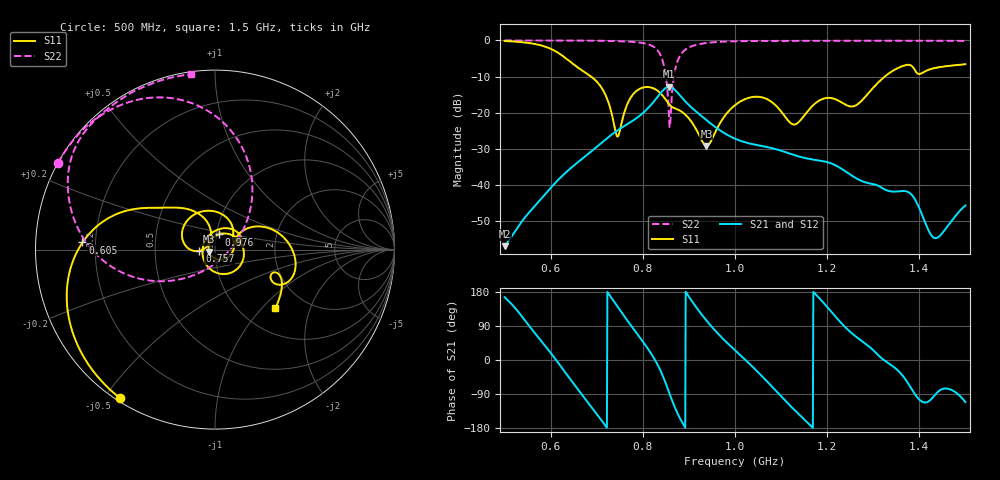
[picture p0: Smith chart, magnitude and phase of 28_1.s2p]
! TOUCHSTONE file generated by CST MICROWAVE STUDIO
! Date and time: Fri Oct  2 18:37:01 2020
! Project name: Scenario_1_Free_Space_out_of_line.cst
! Parameters = {Lambda=346.42; Step_1=17.321; dy1=-120.567; dx1=173; L_HA=400; MT=2.54; Rad_Dielectric=30; Rad_Lower=7.3; Rad_Upper=30; a_HA=580; a_WG=246; b_HA=500; b_WG=121; c_HA=0; c_WG=187; d_feed=85; h_feed=15; h_lower=18; h_upper=40}
! Header version: 2018
! Port assignment regex: !\s*Touchstone port\s*([0-9]+)\s*=\s*(CST MWS port|CST DS port)\s*([0-9]+|Zmin|Zmax)\s*\(\"(.*)\"\)(\s*mode\s*([0-9]+))?.*
! Touchstone port assignment:
! Touchstone port 1 = CST MWS port 1 ("")
! Touchstone port 2 = CST MWS port 2 ("")
# GHz S DB R 50
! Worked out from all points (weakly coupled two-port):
!   1003 points, 500 MHz to 1.5 GHz, reference 50 ohm
!   highest |S21| = -12.83 dB at 857 MHz (marker M1); lowest = -56.9 dB at 500 MHz (marker M2)
!   lowest |S11| = -29.2 dB at 938 MHz (marker M3), VSWR 1.07, Z = 46.8 - j1.12 ohm
!   |S11| at or under -10 dB: 687.6 MHz to 1.325 GHz (637.4 MHz wide, 63.3 % of centre)
!   |S22| runs from -24.0 to 0.0 dB; largest |S21 - S12| = 2.3e-05
!   S11 on the Smith chart (normalised r, x): 500 MHz: 0.01, -0.55; 605 MHz: 0.15, +0.03; 757 MHz: 0.84, -0.01; 976 MHz: 1.03, +0.18; 1.5 GHz: 1.43, -1.19
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0.5  -0.16 -122.7  -56.93 165.6  -56.93 165.6  -0.01 151.1
0.605  -2.62 176.9  -40.11 10.8  -40.11 10.8  -0.02 143.6
0.667  -8.21 143.1  -32.89 -90.1  -32.89 -90.1  -0.04 138.2
0.714  -13.85 111.8  -27.94 -165.3  -27.94 -165.3  -0.11 132.9
0.744  -26.52 138.0  -24.98 142.8  -24.98 142.8  -0.20 128.4
0.757  -21.20 -175.5  -23.91 120.2  -23.91 120.2  -0.26 126.1
0.788  -13.79 154.2  -21.34 68.5  -21.34 68.5  -0.51 118.2
0.834  -14.11 75.6  -15.29 -17.2  -15.29 -17.2  -3.10 85.4
0.847  -15.93 52.4  -13.41 -52.9  -13.41 -52.9  -7.70 59.7
0.857  -17.66 39.3  -12.83 -85.5  -12.83 -85.5  -21.68 -1.9
0.881  -19.46 7.0  -15.29 -154.8  -15.29 -154.8  -4.17 -173.7
0.938  -29.19 -159.9  -22.05 104.3  -22.05 104.3  -0.70 152.4
0.976  -21.20 76.2  -25.58 53.6  -25.58 53.6  -0.32 144.0
1  -17.92 37.7  -27.18 25.7  -27.18 25.7  -0.23 140.2
1.062  -15.86 -47.7  -29.31 -47.0  -29.31 -47.0  -0.15 132.9
1.128  -23.28 168.8  -31.70 -130.7  -31.70 -130.7  -0.12 127.2
1.167  -18.25 73.1  -32.91 -176.6  -32.91 -176.6  -0.11 124.1
1.261  -18.05 23.2  -37.99 63.1  -37.99 63.1  -0.08 116.9
1.334  -9.12 17.3  -41.67 -9.1  -41.67 -9.1  -0.09 111.4
1.382  -6.93 -22.4  -42.52 -74.1  -42.52 -74.1  -0.09 107.7
1.434  -7.62 -26.4  -54.71 -92.1  -54.71 -92.1  -0.10 103.5
1.5  -6.58 -44.1  -45.68 -111.2  -45.69 -111.0  -0.13 97.7
